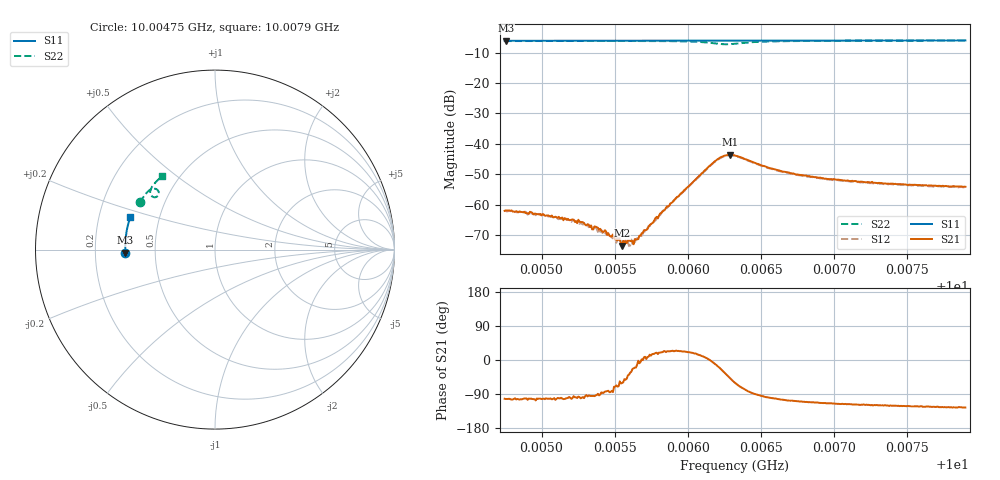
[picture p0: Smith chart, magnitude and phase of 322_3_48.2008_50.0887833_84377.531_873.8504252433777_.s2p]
#  HZ  S  RI  R  50.00
! Rohde & Schwarz Vector Network Analyzer
! Rohde-Schwarz,ZNB20-2Port,1311601062101988,3.16
! Created: UTC 3/20/2024, 11:50:32 AM
! freq[Hz]  re:S11  im:S11  re:S21  im:S21  re:S12  im:S12  re:S22  im:S22
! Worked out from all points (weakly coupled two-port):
!   401 points, 10.00475 GHz to 10.0079 GHz, reference 50 ohm
!   highest |S21| = -43.62 dB at 10.00629 GHz (marker M1); lowest = -73.5 dB at 10.00555 GHz (marker M2)
!   lowest |S11| = -6.0 dB at 10.00476 GHz (marker M3), VSWR 2.99, Z = 16.7 - j0.797 ohm
!   |S11| at or under -10 dB: nowhere
!   |S22| runs from -7.2 to -6.0 dB; largest |S21 - S12| = 0.0004
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1.0004748e10  -0.4988 -0.0185  -0.000167 -0.000767  -0.000137 -0.000774  -0.4178 0.2631
1.0004756e10  -0.4988 -0.0179  -0.000177 -0.000779  -0.000119 -0.000774  -0.4174 0.2636
1.0005023e10  -0.4997 -0.000583  -0.00015 -0.000635  -0.000113 -0.000672  -0.4082 0.2793
1.0005228e10  -0.4999 0.0129  -7.47e-05 -0.000512  -3.59e-05 -0.000531  -0.4002 0.2916
1.0005275e10  -0.5 0.0157  -8.28e-05 -0.000505  -3.18e-05 -0.000484  -0.3983 0.2942
1.0005338e10  -0.4999 0.0199  -3.87e-05 -0.000452  -2.69e-05 -0.000441  -0.3957 0.2981
1.0005385e10  -0.4998 0.0228  5.6e-06 -0.000414  7.3e-06 -0.000353  -0.3935 0.3011
1.0005456e10  -0.4999 0.0275  5.16e-05 -0.000333  6.31e-05 -0.000311  -0.3903 0.3051
1.0005496e10  -0.4997 0.0301  9.2e-05 -0.000262  8.72e-05 -0.000279  -0.3883 0.3077
1.0005551e10  -0.4996 0.0337  0.000104 -0.000184  0.000121 -0.000203  -0.3857 0.3111
1.0005614e10  -0.4993 0.0377  0.000212 -0.000128  0.000225 -0.000139  -0.3823 0.3149
1.0005637e10  -0.4993 0.0392  0.000253 -9.32e-05  0.000223 -5.73e-05  -0.381 0.3164
1.0005677e10  -0.4992 0.0417  0.000306 -2.69e-05  0.000298 -1.64e-06  -0.3788 0.3188
1.0005802e10  -0.4988 0.0499  0.000618 0.00022  0.000616 0.000256  -0.3702 0.3269
1.0006172e10  -0.4961 0.0737  0.00484 -0.000529  0.00476 -0.000335  -0.317 0.3284
1.0006235e10  -0.4955 0.0775  0.00548 -0.00285  0.00547 -0.00256  -0.3138 0.3079
1.000629e10  -0.4951 0.0808  0.00431 -0.00498  0.00448 -0.00462  -0.3272 0.2933
1.0006322e10  -0.495 0.0827  0.00319 -0.00557  0.0034 -0.00529  -0.3378 0.2916
1.0006613e10  -0.4925 0.1015  -0.000834 -0.00359  -0.000616 -0.00353  -0.3591 0.3335
1.0006849e10  -0.4897 0.1165  -0.00107 -0.00268  -0.000931 -0.00268  -0.3486 0.3536
1.0007376e10  -0.4819 0.1495  -0.00113 -0.00187  -0.00101 -0.00193  -0.3223 0.3837
1.0007896e10  -0.4718 0.1813  -0.00114 -0.0016  -0.00103 -0.00162  -0.296 0.4073
